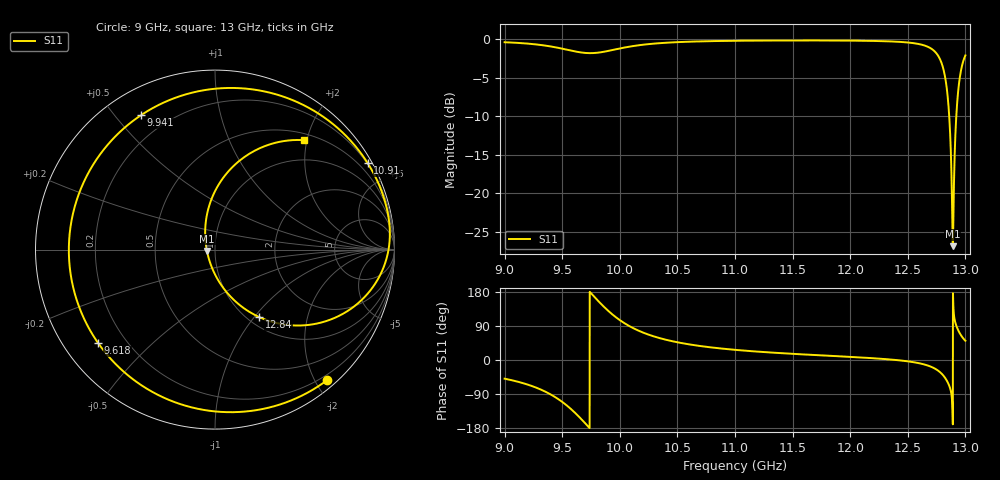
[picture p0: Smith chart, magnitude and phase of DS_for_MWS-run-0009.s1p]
! TOUCHSTONE file generated by CST DESIGN STUDIO
! Date and time: Tue Feb  4 18:01:01 2025
! Project name: C:\Work\MatlabApps\UnitCellOptimizationMatlab\CST\unitcell.cst
! Tree item: Tasks\Sweep1\SPara1\S-Parameters
! Header version: 2024
! Port assignment regex: !\s*Touchstone port\s*([0-9]+)\s*=\s*(CST MWS port|CST DES external port|CST DES block port)\s*(.+)\s* \(\"(.*)\"\)(\s*mode\s*([0-9]+))?.*
! Touchstone port assignment:
! Touchstone port 1 = CST DES external port 1 ("")
# GHz S MA R 50
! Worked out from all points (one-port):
!   4001 points, 9 GHz to 13 GHz, reference 50 ohm
!   lowest |S11| = -26.8 dB at 12.89 GHz (marker M1), VSWR 1.10, Z = 45.7 - j0.745 ohm
!   |S11| at or under -10 dB: 12.85969 GHz to 12.92081 GHz (61.12 MHz wide, 0.474 % of centre)
!   S11 on the Smith chart (normalised r, x): 9 GHz: 0.12, -2.18; 9.618 GHz: 0.10, -0.35; 9.941 GHz: 0.11, +0.59; 10.91 GHz: 0.17, +3.79; 12.84 GHz: 1.12, -1.06; 13 GHz: 0.61, +1.96
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9  0.9587 -49.2
9.265  0.9291 -71.8
9.398  0.9006 -90.6
9.5  0.8708 -110.5
9.618  0.8338 -141.3
9.696  0.8174 -165.8
9.768  0.8151 170.3
9.859  0.8306 141.4
9.941  0.8548 118.9
10  0.8733 105.3
10.229  0.9285 69.2
10.5  0.9598 46.8
10.907  0.9776 29.5
11  0.9796 26.8
11.5  0.9842 16.3
12  0.9819 8.2
12.5  0.955 -3.5
12.726  0.846 -21.2
12.788  0.7191 -34.4
12.843  0.4492 -56.8
12.86  0.3135 -68.2
12.879  0.1344 -90.8
12.891  0.04551 -169.7
12.903  0.1381 112.9
12.922  0.3276 89.8
12.939  0.4753 77.6
12.966  0.6512 63.3
13  0.7872 50.7
